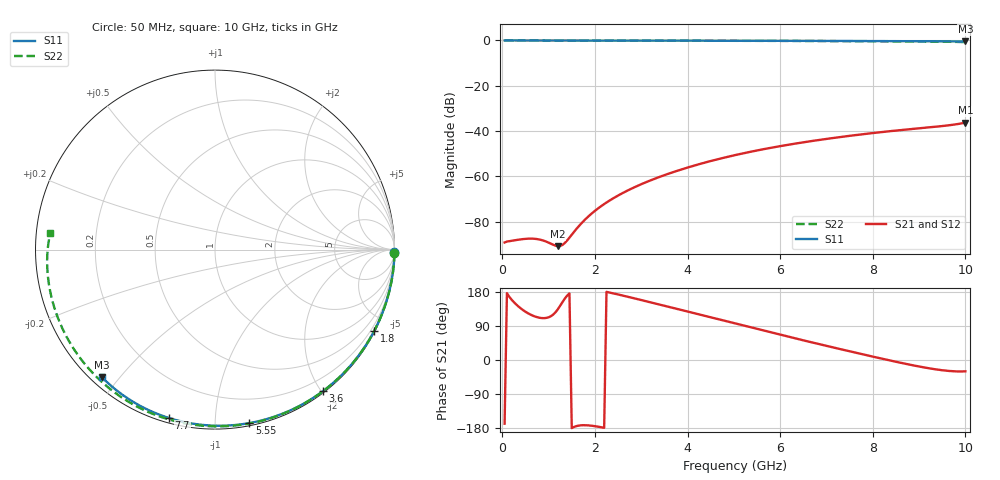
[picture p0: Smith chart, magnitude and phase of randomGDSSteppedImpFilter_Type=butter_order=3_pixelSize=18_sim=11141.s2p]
! freq	dB(S11)	phase(S11)	dB(S12)	phase(S12)
!  dB(S21)	phase(S21)	dB(S22)	phase(S22)
!S-par simulation data
#  GHz  S  DB  R 50
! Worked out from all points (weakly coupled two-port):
!   200 points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, 50 MHz to 10 GHz, reference 50 ohm
!   highest |S21| = -36.27 dB at 10 GHz (marker M1); lowest = -90.8 dB at 1.2 GHz (marker M2)
!   lowest |S11| = -0.4 dB at 10 GHz (marker M3), VSWR 38.83, Z = 1.55 - j22.4 ohm
!   |S11| at or under -10 dB: nowhere
!   |S22| runs from -0.7 to 0.0 dB; largest |S21 - S12| = 0
!   S11 on the Smith chart (normalised r, x): 50 MHz: open; 1.8 GHz: 0.04, -4.17; 3.6 GHz: 0.02, -2.02; 5.55 GHz: 0.02, -1.22; 7.7 GHz: 0.02, -0.76; 10 GHz: 0.03, -0.45
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0.05  -0.00 -0.8  -89.19 -168.1  -89.19 -168.1  -0.00 -1.1
0.6  -0.01 -9.1  -87.49 120.4  -87.49 120.4  -0.01 -12.6
1.2  -0.02 -18.1  -90.83 134.0  -90.83 134.0  -0.03 -25.1
1.75  -0.03 -26.3  -79.84 -172.1  -79.84 -172.1  -0.05 -36.3
1.8  -0.03 -27.0  -78.82 -172.1  -78.82 -172.1  -0.05 -37.3
1.95  -0.04 -29.2  -76.07 -173.7  -76.07 -173.7  -0.05 -40.3
2.1  -0.04 -31.4  -73.67 -176.6  -73.67 -176.6  -0.06 -43.3
2.45  -0.05 -36.5  -69.05 174.4  -69.05 174.4  -0.06 -50.2
2.9  -0.06 -42.9  -64.38 161.3  -64.38 161.3  -0.08 -59.0
3.4  -0.07 -50.0  -60.21 146.2  -60.21 146.2  -0.09 -68.5
3.6  -0.07 -52.8  -58.76 140.1  -58.76 140.1  -0.10 -72.3
4.3  -0.09 -62.4  -54.34 118.7  -54.34 118.7  -0.12 -85.2
5.05  -0.11 -72.3  -50.51 95.7  -50.51 95.7  -0.15 -98.5
5.55  -0.13 -78.8  -48.37 80.4  -48.37 80.4  -0.18 -107.2
6.1  -0.15 -85.8  -46.31 63.8  -46.31 63.8  -0.21 -116.6
6.7  -0.18 -93.2  -44.35 46.0  -44.35 46.0  -0.25 -126.8
7.7  -0.24 -105.2  -41.61 17.3  -41.61 17.3  -0.33 -143.6
8.35  -0.29 -112.8  -40.10 -0.6  -40.10 -0.6  -0.40 -154.7
8.8  -0.32 -118.0  -39.18 -12.4  -39.18 -12.4  -0.45 -162.5
9.25  -0.37 -123.2  -38.31 -22.6  -38.31 -22.6  -0.51 -170.7
9.65  -0.41 -127.7  -37.44 -29.0  -37.44 -29.0  -0.59 -178.4
10  -0.45 -131.6  -36.27 -29.9  -36.27 -29.9  -0.71 174.1
